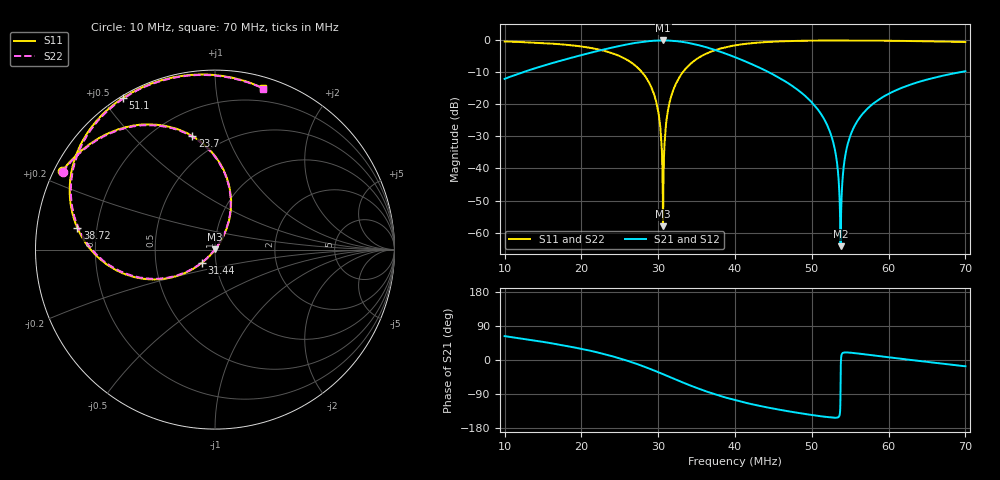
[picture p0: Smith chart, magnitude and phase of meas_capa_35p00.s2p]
#  HZ  S  RI  R  50.00
! Rohde & Schwarz ZVT8 8Ports - Version 4.11 - 1300.0000k08 SN: 100242
! Date: 2026-07-13 13:52:15
! Measurements: S11 S21 S12 S22
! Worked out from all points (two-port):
!   3001 points, 10 MHz to 70 MHz, reference 50 ohm
!   highest |S21| = -0.06 dB at 30.66 MHz (marker M1); lowest = -64.2 dB at 53.74 MHz (marker M2)
!   |S21| within 3 dB of the highest: 22.61 MHz to 37.44 MHz (14.84 MHz wide, 49.4 % of centre)
!   lowest |S11| = -58.1 dB at 30.62 MHz (marker M3), VSWR 1.00, Z = 50.1 + j0.104 ohm
!   |S11| at or under -10 dB: 27.89 MHz to 33.19 MHz (5.297 MHz wide, 17.3 % of centre)
!   |S22| runs from -54.5 to -0.1 dB; largest |S21 - S12| = 0.0017
!   S11 on the Smith chart (normalised r, x): 10 MHz: 0.02, +0.24; 23.7 MHz: 0.35, +0.76; 31.44 MHz: 0.86, -0.13; 38.72 MHz: 0.13, +0.08; 51.1 MHz: 0.01, +0.56; 70 MHz: 0.09, +1.34
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1e7  -0.8513 0.4355  0.1135 0.2222  0.1138 0.222  -0.8488 0.4326
2e7  -0.39 0.6973  0.5111 0.2879  0.5107 0.2872  -0.3894 0.6938
2.37e7  -0.1263 0.6329  0.7389 0.1532  0.7386 0.1531  -0.1272 0.6293
2.802e7  0.0883 0.29  0.9072 -0.2662  0.9065 -0.2655  0.0866 0.2892
2.926e7  0.0736 0.1486  0.8792 -0.4304  0.8784 -0.4296  0.0731 0.1495
3e7  0.0425 0.065  0.8376 -0.5263  0.8378 -0.5262  0.0408 0.0674
3.042e7  0.015 0.0208  0.8063 -0.5782  0.8058 -0.5778  0.0147 0.0227
3.062e7  0.000688 0.00104  0.7894 -0.602  0.7889 -0.6016  0.000544 0.0018
3.066e7  -0.00209 -0.00348  0.786 -0.6067  0.7849 -0.606  -0.00297 -0.00113
3.144e7  -0.0712 -0.0724  0.7066 -0.6897  0.7064 -0.6891  -0.0718 -0.0696
3.382e7  -0.3499 -0.1663  0.3964 -0.8238  0.3964 -0.8234  -0.3475 -0.1628
3.872e7  -0.7664 0.12  -0.0947 -0.6147  -0.0946 -0.6147  -0.7609 0.1213
4e7  -0.8 0.2294  -0.149 -0.5235  -0.1495 -0.5234  -0.7941 0.2297
5e7  -0.5585 0.8122  -0.088 -0.0615  -0.088 -0.0614  -0.5548 0.8095
5.11e7  -0.5116 0.846  -0.0628 -0.0388  -0.0627 -0.0388  -0.5085 0.8431
5.284e7  -0.4366 0.8895  -0.0214 -0.0113  -0.0214 -0.0113  -0.4338 0.8866
5.374e7  -0.3971 0.9074  0.000134 -0.000599  0.000133 -0.000599  -0.3943 0.9049
5.394e7  -0.3883 0.9114  0.00492 0.00147  0.00493 0.00147  -0.3856 0.9089
5.444e7  -0.3662 0.9202  0.0169 0.00616  0.0169 0.00616  -0.3636 0.918
5.536e7  -0.326 0.9351  0.0389 0.0131  0.0388 0.0131  -0.3232 0.9325
6e7  -0.1232 0.9742  0.1449 0.0185  0.1448 0.0183  -0.1202 0.9714
7e7  0.2667 0.8998  0.3147 -0.0937  0.3148 -0.0937  0.2701 0.8973
